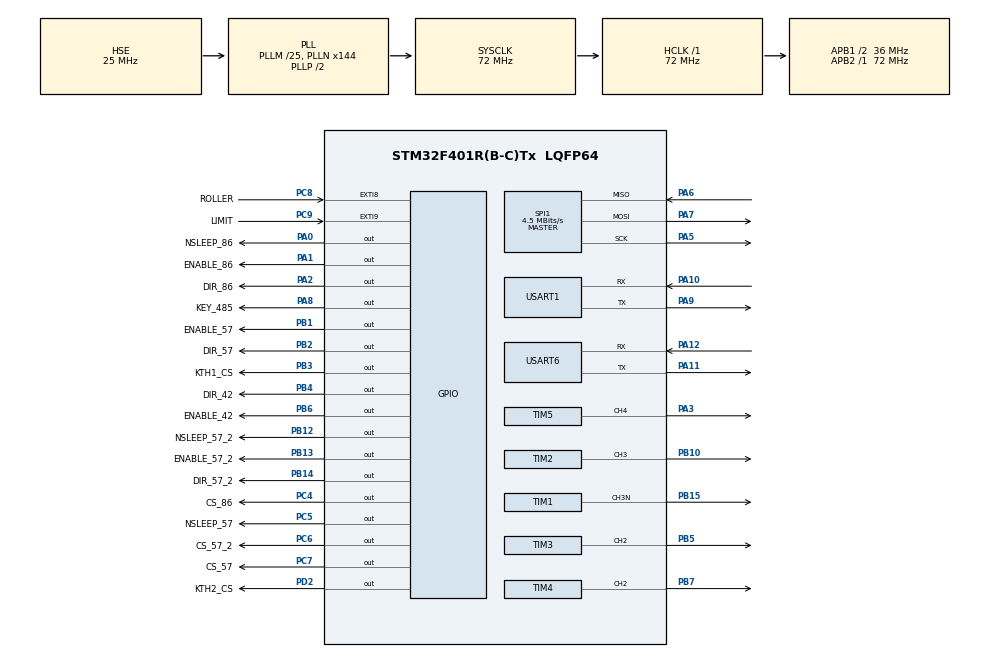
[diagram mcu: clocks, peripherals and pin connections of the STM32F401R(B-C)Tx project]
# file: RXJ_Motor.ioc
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Mcu.Family=STM32F4
Mcu.Name=STM32F401R(B-C)Tx
Mcu.Package=LQFP64
NVIC.PriorityGroup=NVIC_PRIORITYGROUP_4
PA0-WKUP.GPIO_Label=NSLEEP_86
PA0-WKUP.GPIO_PuPd=GPIO_PULLDOWN
PA0-WKUP.Signal=GPIO_Output
PA1.GPIO_Label=ENABLE_86
PA1.GPIO_PuPd=GPIO_PULLDOWN
PA1.PinState=GPIO_PIN_RESET
PA1.Signal=GPIO_Output
PA10.Mode=Asynchronous
PA10.Signal=USART1_RX
PA11.Mode=Asynchronous
PA11.Signal=USART6_TX
PA12.Mode=Asynchronous
PA12.Signal=USART6_RX
PA13.Mode=Serial_Wire
PA13.Signal=SYS_JTMS-SWDIO
PA14.Mode=Serial_Wire
PA14.Signal=SYS_JTCK-SWCLK
PA2.GPIO_Label=DIR_86
PA2.GPIO_PuPd=GPIO_PULLDOWN
PA2.Signal=GPIO_Output
PA3.Signal=S_TIM5_CH4
PA5.Mode=Full_Duplex_Master
PA5.Signal=SPI1_SCK
PA6.Mode=Full_Duplex_Master
PA6.Signal=SPI1_MISO
PA7.Mode=Full_Duplex_Master
PA7.Signal=SPI1_MOSI
PA8.GPIO_Label=KEY_485
PA8.Signal=GPIO_Output
PA9.Mode=Asynchronous
PA9.Signal=USART1_TX
PB1.GPIO_Label=ENABLE_57
PB1.GPIO_PuPd=GPIO_PULLDOWN
PB1.Signal=GPIO_Output
PB10.Signal=S_TIM2_CH3
PB12.GPIO_Label=NSLEEP_57_2
PB12.Signal=GPIO_Output
PB13.GPIO_Label=ENABLE_57_2
PB13.Signal=GPIO_Output
PB14.GPIO_Label=DIR_57_2
PB14.Signal=GPIO_Output
PB15.Mode=PWM Generation3 CH3N
PB15.Signal=TIM1_CH3N
PB2.GPIO_Label=DIR_57
PB2.GPIO_PuPd=GPIO_PULLDOWN
PB2.Signal=GPIO_Output
PB3.GPIO_Label=KTH1_CS
PB3.Signal=GPIO_Output
PB4.GPIO_Label=DIR_42
PB4.GPIO_PuPd=GPIO_PULLDOWN
PB4.Signal=GPIO_Output
PB5.Signal=S_TIM3_CH2
PB6.GPIO_Label=ENABLE_42
PB6.GPIO_PuPd=GPIO_PULLDOWN
PB6.Signal=GPIO_Output
PB7.Signal=S_TIM4_CH2
PC4.GPIO_Label=CS_86
PC4.GPIO_PuPd=GPIO_PULLUP
PC4.PinState=GPIO_PIN_SET
PC4.Signal=GPIO_Output
PC5.GPIO_Label=NSLEEP_57
PC5.GPIO_PuPd=GPIO_PULLDOWN
PC5.PinState=GPIO_PIN_RESET
PC5.Signal=GPIO_Output
PC6.GPIO_Label=CS_57_2
PC6.GPIO_PuPd=GPIO_PULLUP
PC6.PinState=GPIO_PIN_SET
PC6.Signal=GPIO_Output
PC7.GPIO_Label=CS_57
PC7.GPIO_PuPd=GPIO_PULLUP
PC7.PinState=GPIO_PIN_SET
PC7.Signal=GPIO_Output
PC8.GPIO_Label=ROLLER
PC8.GPIO_PuPd=GPIO_PULLDOWN
PC8.Signal=GPXTI8
PC9.GPIO_Label=LIMIT
PC9.GPIO_PuPd=GPIO_PULLDOWN
PC9.Signal=GPXTI9
PD2.GPIO_Label=KTH2_CS
PD2.Signal=GPIO_Output
PH0\ -\ OSC_IN.Mode=HSE-External-Oscillator
PH0\ -\ OSC_IN.Signal=RCC_OSC_IN
PH1\ -\ OSC_OUT.Mode=HSE-External-Oscillator
PH1\ -\ OSC_OUT.Signal=RCC_OSC_OUT
ProjectManager.HeapSize=0x200
ProjectManager.StackSize=0x400
ProjectManager.TargetToolchain=MDK-ARM V5.32
RCC.48MHZClocksFreq_Value=36000000
RCC.AHBFreq_Value=72000000
RCC.APB1CLKDivider=RCC_HCLK_DIV2
RCC.APB1Freq_Value=36000000
RCC.APB1TimFreq_Value=72000000
RCC.APB2Freq_Value=72000000
RCC.APB2TimFreq_Value=72000000
RCC.CortexFreq_Value=72000000
RCC.HCLKFreq_Value=72000000
RCC.HSE_VALUE=25000000
RCC.HSI_VALUE=16000000
RCC.LSE_VALUE=32768
RCC.PLLM=25
RCC.PLLN=144
RCC.PLLSourceVirtual=RCC_PLLSOURCE_HSE
RCC.SYSCLKFreq_VALUE=72000000
RCC.SYSCLKSource=RCC_SYSCLKSOURCE_PLLCLK
RCC.VCOOutputFreq_Value=144000000
SH.S_TIM2_CH3.0=TIM2_CH3,PWM Generation3 CH3
SH.S_TIM3_CH2.0=TIM3_CH2,PWM Generation2 CH2
SH.S_TIM4_CH2.0=TIM4_CH2,PWM Generation2 CH2
SH.S_TIM5_CH4.0=TIM5_CH4,PWM Generation4 CH4
SPI1.BaudRatePrescaler=SPI_BAUDRATEPRESCALER_16
SPI1.CLKPhase=SPI_PHASE_2EDGE
SPI1.CLKPolarity=SPI_POLARITY_LOW
SPI1.CalculateBaudRate=4.5 MBits/s
SPI1.DataSize=SPI_DATASIZE_16BIT
SPI1.Direction=SPI_DIRECTION_2LINES
SPI1.FirstBit=SPI_FIRSTBIT_MSB
SPI1.Mode=SPI_MODE_MASTER
SPI1.VirtualType=VM_MASTER
TIM1.AutoReloadPreload=TIM_AUTORELOAD_PRELOAD_ENABLE
TIM1.Channel-PWM\ Generation3\ CH3N=TIM_CHANNEL_3
TIM1.Prescaler=71
TIM2.AutoReloadPreload=TIM_AUTORELOAD_PRELOAD_DISABLE
TIM2.Channel-PWM\ Generation3\ CH3=TIM_CHANNEL_3
TIM2.Prescaler=71
TIM3.AutoReloadPreload=TIM_AUTORELOAD_PRELOAD_ENABLE
TIM3.Channel-PWM\ Generation2\ CH2=TIM_CHANNEL_2
TIM3.Prescaler=71
TIM4.AutoReloadPreload=TIM_AUTORELOAD_PRELOAD_ENABLE
TIM4.Channel-PWM\ Generation2\ CH2=TIM_CHANNEL_2
TIM4.Period=999
TIM4.Prescaler=71
TIM5.AutoReloadPreload=TIM_AUTORELOAD_PRELOAD_DISABLE
TIM5.Channel-PWM\ Generation4\ CH4=TIM_CHANNEL_4
TIM5.Prescaler=71
USART1.VirtualMode=VM_ASYNC
USART6.VirtualMode=VM_ASYNC
VP_TIM5_VS_ClockSourceINT.Mode=Internal
board=custom

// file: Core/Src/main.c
/* USER CODE BEGIN Header */
/**
  ******************************************************************************
  * @file           : main.c
  * @brief          : Main program body
  ******************************************************************************
  * @attention
  *
  * Copyright (c) 2026 STMicroelectronics.
  * All rights reserved.
  *
  * This software is licensed under terms that can be found in the LICENSE file
  * in the root directory of this software component.
  * If no LICENSE file comes with this software, it is provided AS-IS.
  *
  ******************************************************************************
  */
/* USER CODE END Header */
#include "main.h"
#include "spi.h"
#include "tim.h"
#include "usart.h"
#include "gpio.h"

/* USER CODE BEGIN Includes */
#include "motor.h"
/* USER CODE END Includes */

/* USER CODE BEGIN PV */
uint8_t rxData[2];
/* USER CODE END PV */

void SystemClock_Config(void);

int main(void)
{

  /* MCU Configuration--------------------------------------------------------*/

  /* Reset of all peripherals, Initializes the Flash interface and the Systick. */
  HAL_Init();

  /* Configure the system clock */
  SystemClock_Config();

  /* Initialize all configured peripherals */
  MX_GPIO_Init();
  MX_SPI1_Init();
  MX_TIM2_Init();
  MX_TIM5_Init();
  MX_TIM3_Init();
  MX_TIM4_Init();
  MX_TIM1_Init();
  MX_USART6_UART_Init();
  MX_USART1_UART_Init();
  /* USER CODE BEGIN 2 */
  // HAL_GPIO_WritePin(GPIOA, GPIO_PIN_8, GPIO_PIN_SET); // 设置 PA8 引脚为高电平，485发送
  // HAL_GPIO_WritePin(GPIOA, GPIO_PIN_8, GPIO_PIN_RESET); // 设置 PA8 引脚为高电平，485接收

  HAL_GPIO_WritePin(GPIOC, GPIO_PIN_4, GPIO_PIN_SET);
  HAL_GPIO_WritePin(GPIOC, GPIO_PIN_6, GPIO_PIN_SET);
  HAL_GPIO_WritePin(GPIOC, GPIO_PIN_7, GPIO_PIN_SET);
//   HAL_GPIO_WritePin(GPIOC, GPIO_PIN_5, GPIO_PIN_SET);
//    HAL_GPIO_WritePin(GPIOB, GPIO_PIN_1, GPIO_PIN_SET);

  //清除休眠 使能 开PWM
  motor_Init(1,2);
  motor_enable(1,2);
  motor_DIR(1,2);
  motor_pwm_set(2,2000);
  HAL_Delay(100);

  motor_Init(1,1);
  motor_enable(1,1);
  motor_DIR(1,1);
  motor_pwm_set(1,2000);
  HAL_Delay(100);

  motor_Init(1,3);
  motor_enable(1,3);
  motor_DIR(1,3);
  motor_pwm_set(3,1700);
  HAL_Delay(100);

  DRV8462_WriteReg(1,0x06,0x80);//清除所有锁存故障位
  HAL_Delay(100);

  DRV8462_WriteReg(1,0x05,0x00);
  HAL_Delay(5);
  DRV8462_WriteReg(1,0x0E, 0xFF);
  HAL_Delay(5);
  DRV8462_WriteReg(1,0x10, 0x02);
  HAL_Delay(5);
  DRV8462_WriteReg(1,0x04,0x88);
  HAL_Delay(5);

  DRV8462_WriteReg(2,0x05,0x00);
  HAL_Delay(5);
  DRV8462_WriteReg(2,0x0E, 0x80);
  HAL_Delay(5);
  DRV8462_WriteReg(2,0x10, 0x02);
  HAL_Delay(5);
  DRV8462_WriteReg(2,0x04,0x88);
  HAL_Delay(5);

  DRV8462_WriteReg(3,0x05,0x00);
  HAL_Delay(5);
  DRV8462_WriteReg(3,0x0E, 0x80);
  HAL_Delay(5);
  DRV8462_WriteReg(3,0x10, 0x02);
  HAL_Delay(5);
  DRV8462_WriteReg(3,0x04,0x88);
  HAL_Delay(5);
  /* USER CODE END 2 */

  /* Infinite loop */
  /* USER CODE BEGIN WHILE */
  while (1)
  {
    uint8_t ccbuf[2]={0x44,0x55};
    HAL_UART_Transmit(&huart6,ccbuf,2,1000);
    HAL_Delay(1000);
	  MySPI_SwapByte(1);
	   if((rxData[1]&0x80)!=0)
    {
        HAL_UART_Transmit(&huart6,rxData,2,100);
    }
   HAL_Delay(1000);
    /* USER CODE END WHILE */

  }
}

void SystemClock_Config(void)
{
  RCC_OscInitTypeDef RCC_OscInitStruct = {0};
  RCC_ClkInitTypeDef RCC_ClkInitStruct = {0};

  /** Configure the main internal regulator output voltage
  */
  __HAL_RCC_PWR_CLK_ENABLE();
  __HAL_PWR_VOLTAGESCALING_CONFIG(PWR_REGULATOR_VOLTAGE_SCALE2);

  /** Initializes the RCC Oscillators according to the specified parameters
  * in the RCC_OscInitTypeDef structure.
  */
  RCC_OscInitStruct.OscillatorType = RCC_OSCILLATORTYPE_HSE;
  RCC_OscInitStruct.HSEState = RCC_HSE_ON;
  RCC_OscInitStruct.PLL.PLLState = RCC_PLL_ON;
  RCC_OscInitStruct.PLL.PLLSource = RCC_PLLSOURCE_HSE;
  RCC_OscInitStruct.PLL.PLLM = 25;
  RCC_OscInitStruct.PLL.PLLN = 144;
  RCC_OscInitStruct.PLL.PLLP = RCC_PLLP_DIV2;
  RCC_OscInitStruct.PLL.PLLQ = 4;
  if (HAL_RCC_OscConfig(&RCC_OscInitStruct) != HAL_OK)
  {
    Error_Handler();
  }

  /** Initializes the CPU, AHB and APB buses clocks
  */
  RCC_ClkInitStruct.ClockType = RCC_CLOCKTYPE_HCLK|RCC_CLOCKTYPE_SYSCLK
                              |RCC_CLOCKTYPE_PCLK1|RCC_CLOCKTYPE_PCLK2;
  RCC_ClkInitStruct.SYSCLKSource = RCC_SYSCLKSOURCE_PLLCLK;
  RCC_ClkInitStruct.AHBCLKDivider = RCC_SYSCLK_DIV1;
  RCC_ClkInitStruct.APB1CLKDivider = RCC_HCLK_DIV2;
  RCC_ClkInitStruct.APB2CLKDivider = RCC_HCLK_DIV1;

  if (HAL_RCC_ClockConfig(&RCC_ClkInitStruct, FLASH_LATENCY_2) != HAL_OK)
  {
    Error_Handler();
  }
}

/* USER CODE BEGIN 4 */
void HAL_GPIO_EXTI_Callback(uint16_t GPIO_Pin)
{
    if (GPIO_Pin == GPIO_PIN_8)
    {
        // 处理 Pc8 引脚的外部中断(罗拉)
    }
    else if (GPIO_Pin == GPIO_PIN_9)
    {
        // 处理 Pc9 引脚的外部中断(限位开关)
    }
    // 可以添加更多引脚的处理逻辑
}
/* USER CODE END 4 */

void Error_Handler(void)
{
  __disable_irq();
  while (1)
  {
  }
}
